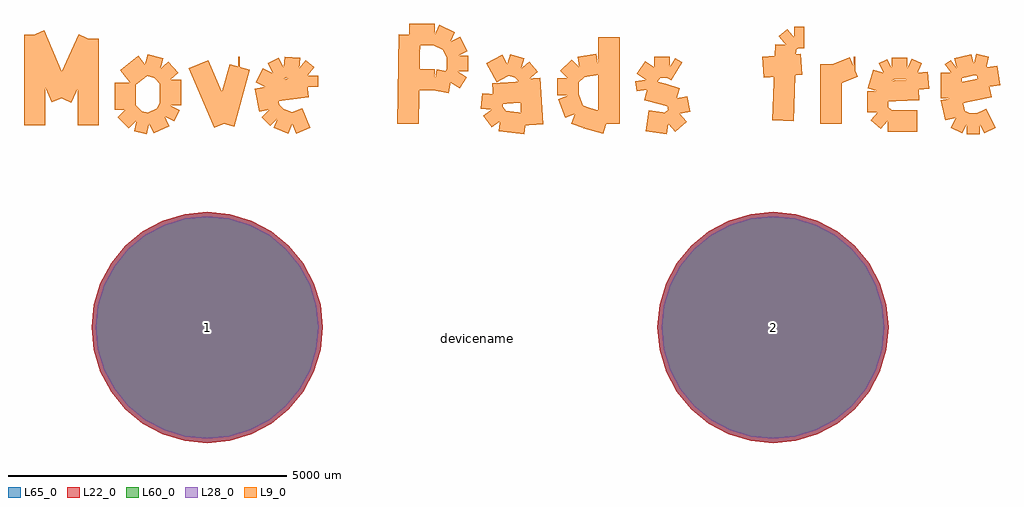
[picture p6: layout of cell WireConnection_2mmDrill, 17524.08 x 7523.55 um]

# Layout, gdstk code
import gdstk
lib = gdstk.Library(unit=1e-6, precision=1e-09)
def P(c, l, *ps):  # polygons
    for p in ps: c.add(gdstk.Polygon(p, *l))
L9_0 = (9, 0)
L22_0 = (22, 0)
L28_0 = (28, 0)
L60_0 = (60, 0)
L65_0 = (65, 0)

wireconnection_2mmdrill = lib.new_cell('WireConnection_2mmDrill')
P(wireconnection_2mmdrill, L22_0, [(12235.25,0),(12195.375,404.861),(12077.281,794.164),(11885.507,1152.947),(11627.423,1467.423),(11312.947,1725.507),(10954.164,1917.281),(10564.861,2035.375),(10160,2075.25),(9755.139,2035.375),(9365.836,1917.281),(9007.053,1725.507),(8692.577,1467.423),(8434.493,1152.947),(8242.719,794.164),(8124.625,404.861),(8084.75,0),(8124.625,-404.861),(8242.719,-794.164),(8434.493,-1152.947),(8692.577,-1467.423),(9007.053,-1725.507),(9365.836,-1917.281),(9755.139,-2035.375),(10160,-2075.25),(10564.861,-2035.375),(10954.164,-1917.281),(11312.947,-1725.507),(11627.423,-1467.423),(11885.507,-1152.947),(12077.281,-794.164),(12195.375,-404.861)],
  [(2075.25,0),(2035.375,404.861),(1917.281,794.164),(1725.507,1152.947),(1467.423,1467.423),(1152.947,1725.507),(794.164,1917.281),(404.861,2035.375),(0,2075.25),(-404.861,2035.375),(-794.164,1917.281),(-1152.947,1725.507),(-1467.423,1467.423),(-1725.507,1152.947),(-1917.281,794.164),(-2035.375,404.861),(-2075.25,0),(-2035.375,-404.861),(-1917.281,-794.164),(-1725.507,-1152.947),(-1467.423,-1467.423),(-1152.947,-1725.507),(-794.164,-1917.281),(-404.861,-2035.375),(0,-2075.25),(404.861,-2035.375),(794.164,-1917.281),(1152.947,-1725.507),(1467.423,-1467.423),(1725.507,-1152.947),(1917.281,-794.164),(2035.375,-404.861)])
P(wireconnection_2mmdrill, L28_0, [(12160.25,0),(12121.816,390.229),(12007.99,765.463),(11823.147,1111.279),(11574.39,1414.39),(11271.279,1663.147),(10925.463,1847.99),(10550.229,1961.816),(10160,2000.25),(9769.771,1961.816),(9394.537,1847.99),(9048.721,1663.147),(8745.61,1414.39),(8496.853,1111.279),(8312.01,765.463),(8198.184,390.229),(8159.75,0),(8198.184,-390.229),(8312.01,-765.463),(8496.853,-1111.279),(8745.61,-1414.39),(9048.721,-1663.147),(9394.537,-1847.99),(9769.771,-1961.816),(10160,-2000.25),(10550.229,-1961.816),(10925.463,-1847.99),(11271.279,-1663.147),(11574.39,-1414.39),(11823.147,-1111.279),(12007.99,-765.463),(12121.816,-390.229)],
  [(2000.25,0),(1961.816,390.229),(1847.99,765.463),(1663.147,1111.279),(1414.39,1414.39),(1111.279,1663.147),(765.463,1847.99),(390.229,1961.816),(0,2000.25),(-390.229,1961.816),(-765.463,1847.99),(-1111.279,1663.147),(-1414.39,1414.39),(-1663.147,1111.279),(-1847.99,765.463),(-1961.816,390.229),(-2000.25,0),(-1961.816,-390.229),(-1847.99,-765.463),(-1663.147,-1111.279),(-1414.39,-1414.39),(-1111.279,-1663.147),(-765.463,-1847.99),(-390.229,-1961.816),(0,-2000.25),(390.229,-1961.816),(765.463,-1847.99),(1111.279,-1663.147),(1414.39,-1414.39),(1663.147,-1111.279),(1847.99,-765.463),(1961.816,-390.229)])
P(wireconnection_2mmdrill, L60_0, [(12160.25,0),(12121.816,390.229),(12007.99,765.463),(11823.147,1111.279),(11574.39,1414.39),(11271.279,1663.147),(10925.463,1847.99),(10550.229,1961.816),(10160,2000.25),(9769.771,1961.816),(9394.537,1847.99),(9048.721,1663.147),(8745.61,1414.39),(8496.853,1111.279),(8312.01,765.463),(8198.184,390.229),(8159.75,0),(8198.184,-390.229),(8312.01,-765.463),(8496.853,-1111.279),(8745.61,-1414.39),(9048.721,-1663.147),(9394.537,-1847.99),(9769.771,-1961.816),(10160,-2000.25),(10550.229,-1961.816),(10925.463,-1847.99),(11271.279,-1663.147),(11574.39,-1414.39),(11823.147,-1111.279),(12007.99,-765.463),(12121.816,-390.229)],
  [(2000.25,0),(1961.816,390.229),(1847.99,765.463),(1663.147,1111.279),(1414.39,1414.39),(1111.279,1663.147),(765.463,1847.99),(390.229,1961.816),(0,2000.25),(-390.229,1961.816),(-765.463,1847.99),(-1111.279,1663.147),(-1414.39,1414.39),(-1663.147,1111.279),(-1847.99,765.463),(-1961.816,390.229),(-2000.25,0),(-1961.816,-390.229),(-1847.99,-765.463),(-1663.147,-1111.279),(-1414.39,-1414.39),(-1111.279,-1663.147),(-765.463,-1847.99),(-390.229,-1961.816),(0,-2000.25),(390.229,-1961.816),(765.463,-1847.99),(1111.279,-1663.147),(1414.39,-1414.39),(1663.147,-1111.279),(1847.99,-765.463),(1961.816,-390.229)])
P(wireconnection_2mmdrill, L65_0, [(12235.25,0),(12195.375,404.861),(12077.281,794.164),(11885.507,1152.947),(11627.423,1467.423),(11312.947,1725.507),(10954.164,1917.281),(10564.861,2035.375),(10160,2075.25),(9755.139,2035.375),(9365.836,1917.281),(9007.053,1725.507),(8692.577,1467.423),(8434.493,1152.947),(8242.719,794.164),(8124.625,404.861),(8084.75,0),(8124.625,-404.861),(8242.719,-794.164),(8434.493,-1152.947),(8692.577,-1467.423),(9007.053,-1725.507),(9365.836,-1917.281),(9755.139,-2035.375),(10160,-2075.25),(10564.861,-2035.375),(10954.164,-1917.281),(11312.947,-1725.507),(11627.423,-1467.423),(11885.507,-1152.947),(12077.281,-794.164),(12195.375,-404.861)],
  [(2075.25,0),(2035.375,404.861),(1917.281,794.164),(1725.507,1152.947),(1467.423,1467.423),(1152.947,1725.507),(794.164,1917.281),(404.861,2035.375),(0,2075.25),(-404.861,2035.375),(-794.164,1917.281),(-1152.947,1725.507),(-1467.423,1467.423),(-1725.507,1152.947),(-1917.281,794.164),(-2035.375,404.861),(-2075.25,0),(-2035.375,-404.861),(-1917.281,-794.164),(-1725.507,-1152.947),(-1467.423,-1467.423),(-1152.947,-1725.507),(-794.164,-1917.281),(-404.861,-2035.375),(0,-2075.25),(404.861,-2035.375),(794.164,-1917.281),(1152.947,-1725.507),(1467.423,-1467.423),(1725.507,-1152.947),(1917.281,-794.164),(2035.375,-404.861)])
wireconnection_2mmdrill.add(gdstk.FlexPath([(-2133.6,5181.6),(-2133.6,3632.2)], 380.998, ends="flush", simple_path=True, layer=9, datatype=0))  # L9_0
wireconnection_2mmdrill.add(gdstk.FlexPath([(-2616.2,4114.8),(-2133.6,5181.6)], 380.998, ends="flush", simple_path=True, layer=9, datatype=0))  # L9_0
wireconnection_2mmdrill.add(gdstk.FlexPath([(-3098.8,5257.8),(-2616.2,4114.8)], 380.998, ends="flush", simple_path=True, layer=9, datatype=0))  # L9_0
wireconnection_2mmdrill.add(gdstk.FlexPath([(-3098.8,3632.2),(-3098.8,5257.8)], 380.998, ends="flush", simple_path=True, layer=9, datatype=0))  # L9_0
wireconnection_2mmdrill.add(gdstk.FlexPath([(-1117.6,4724.4),(-1447.8,4470.4)], 380.998, ends="flush", simple_path=True, layer=9, datatype=0))  # L9_0
wireconnection_2mmdrill.add(gdstk.FlexPath([(-838.2,4648.2),(-1117.6,4724.4)], 380.998, ends="flush", simple_path=True, layer=9, datatype=0))  # L9_0
wireconnection_2mmdrill.add(gdstk.FlexPath([(-660.4,4445),(-838.2,4648.2)], 380.998, ends="flush", simple_path=True, layer=9, datatype=0))  # L9_0
wireconnection_2mmdrill.add(gdstk.FlexPath([(-660.4,3987.8),(-660.4,4445)], 380.998, ends="flush", simple_path=True, layer=9, datatype=0))  # L9_0
wireconnection_2mmdrill.add(gdstk.FlexPath([(-762,3784.6),(-660.4,3987.8)], 380.998, ends="flush", simple_path=True, layer=9, datatype=0))  # L9_0
wireconnection_2mmdrill.add(gdstk.FlexPath([(-1041.4,3657.6),(-762,3784.6)], 380.998, ends="flush", simple_path=True, layer=9, datatype=0))  # L9_0
wireconnection_2mmdrill.add(gdstk.FlexPath([(-1270,3708.4),(-1041.4,3657.6)], 380.998, ends="flush", simple_path=True, layer=9, datatype=0))  # L9_0
wireconnection_2mmdrill.add(gdstk.FlexPath([(-1473.2,3911.6),(-1270,3708.4)], 380.998, ends="flush", simple_path=True, layer=9, datatype=0))  # L9_0
wireconnection_2mmdrill.add(gdstk.FlexPath([(-1473.2,4394.2),(-1473.2,3911.6)], 380.998, ends="flush", simple_path=True, layer=9, datatype=0))  # L9_0
wireconnection_2mmdrill.add(gdstk.FlexPath([(584.2,4673.6),(558.8,4673.6)], 380.998, ends="flush", simple_path=True, layer=9, datatype=0))  # L9_0
wireconnection_2mmdrill.add(gdstk.FlexPath([(304.8,3657.6),(584.2,4673.6)], 380.998, ends="flush", simple_path=True, layer=9, datatype=0))  # L9_0
wireconnection_2mmdrill.add(gdstk.FlexPath([(-152.4,4724.4),(304.8,3657.6)], 380.998, ends="flush", simple_path=True, layer=9, datatype=0))  # L9_0
wireconnection_2mmdrill.add(gdstk.FlexPath([(1803.4,4318),(1168.4,4241.8)], 380.998, ends="flush", simple_path=True, layer=9, datatype=0))  # L9_0
wireconnection_2mmdrill.add(gdstk.FlexPath([(1803.4,4521.2),(1803.4,4318)], 380.998, ends="flush", simple_path=True, layer=9, datatype=0))  # L9_0
wireconnection_2mmdrill.add(gdstk.FlexPath([(1651,4648.2),(1803.4,4521.2)], 380.998, ends="flush", simple_path=True, layer=9, datatype=0))  # L9_0
wireconnection_2mmdrill.add(gdstk.FlexPath([(1371.6,4673.6),(1651,4648.2)], 380.998, ends="flush", simple_path=True, layer=9, datatype=0))  # L9_0
wireconnection_2mmdrill.add(gdstk.FlexPath([(1168.4,4572),(1371.6,4673.6)], 380.998, ends="flush", simple_path=True, layer=9, datatype=0))  # L9_0
wireconnection_2mmdrill.add(gdstk.FlexPath([(1041.4,4318),(1168.4,4572)], 380.998, ends="flush", simple_path=True, layer=9, datatype=0))  # L9_0
wireconnection_2mmdrill.add(gdstk.FlexPath([(1117.6,3911.6),(1041.4,4318)], 380.998, ends="flush", simple_path=True, layer=9, datatype=0))  # L9_0
wireconnection_2mmdrill.add(gdstk.FlexPath([(1270,3759.2),(1117.6,3911.6)], 380.998, ends="flush", simple_path=True, layer=9, datatype=0))  # L9_0
wireconnection_2mmdrill.add(gdstk.FlexPath([(1524,3657.6),(1270,3759.2)], 380.998, ends="flush", simple_path=True, layer=9, datatype=0))  # L9_0
wireconnection_2mmdrill.add(gdstk.FlexPath([(1778,3759.2),(1524,3657.6)], 380.998, ends="flush", simple_path=True, layer=9, datatype=0))  # L9_0
wireconnection_2mmdrill.add(gdstk.FlexPath([(4089.4,4445),(3632.2,4445)], 380.998, ends="flush", simple_path=True, layer=9, datatype=0))  # L9_0
wireconnection_2mmdrill.add(gdstk.FlexPath([(4368.8,4394.2),(4089.4,4445)], 380.998, ends="flush", simple_path=True, layer=9, datatype=0))  # L9_0
wireconnection_2mmdrill.add(gdstk.FlexPath([(4495.8,4597.4),(4368.8,4394.2)], 380.998, ends="flush", simple_path=True, layer=9, datatype=0))  # L9_0
wireconnection_2mmdrill.add(gdstk.FlexPath([(4495.8,4876.8),(4495.8,4597.4)], 380.998, ends="flush", simple_path=True, layer=9, datatype=0))  # L9_0
wireconnection_2mmdrill.add(gdstk.FlexPath([(4368.8,5130.8),(4495.8,4876.8)], 380.998, ends="flush", simple_path=True, layer=9, datatype=0))  # L9_0
wireconnection_2mmdrill.add(gdstk.FlexPath([(4089.4,5257.8),(4368.8,5130.8)], 380.998, ends="flush", simple_path=True, layer=9, datatype=0))  # L9_0
wireconnection_2mmdrill.add(gdstk.FlexPath([(3632.2,5257.8),(4089.4,5257.8)], 380.998, ends="flush", simple_path=True, layer=9, datatype=0))  # L9_0
wireconnection_2mmdrill.add(gdstk.FlexPath([(3606.8,3657.6),(3632.2,5257.8)], 380.998, ends="flush", simple_path=True, layer=9, datatype=0))  # L9_0
wireconnection_2mmdrill.add(gdstk.FlexPath([(5791.2,4470.4),(5842,3632.2)], 380.998, ends="flush", simple_path=True, layer=9, datatype=0))  # L9_0
wireconnection_2mmdrill.add(gdstk.FlexPath([(5638.8,4648.2),(5791.2,4470.4)], 380.998, ends="flush", simple_path=True, layer=9, datatype=0))  # L9_0
wireconnection_2mmdrill.add(gdstk.FlexPath([(5384.8,4724.4),(5638.8,4648.2)], 380.998, ends="flush", simple_path=True, layer=9, datatype=0))  # L9_0
wireconnection_2mmdrill.add(gdstk.FlexPath([(5105.4,4572),(5384.8,4724.4)], 380.998, ends="flush", simple_path=True, layer=9, datatype=0))  # L9_0
wireconnection_2mmdrill.add(gdstk.FlexPath([(5130.8,4191),(5842,4241.8)], 380.998, ends="flush", simple_path=True, layer=9, datatype=0))  # L9_0
wireconnection_2mmdrill.add(gdstk.FlexPath([(5105.4,3911.6),(5130.8,4191)], 380.998, ends="flush", simple_path=True, layer=9, datatype=0))  # L9_0
wireconnection_2mmdrill.add(gdstk.FlexPath([(5257.8,3708.4),(5105.4,3911.6)], 380.998, ends="flush", simple_path=True, layer=9, datatype=0))  # L9_0
wireconnection_2mmdrill.add(gdstk.FlexPath([(5715,3657.6),(5257.8,3708.4)], 380.998, ends="flush", simple_path=True, layer=9, datatype=0))  # L9_0
wireconnection_2mmdrill.add(gdstk.FlexPath([(7213.6,5207),(7213.6,3657.6)], 380.998, ends="flush", simple_path=True, layer=9, datatype=0))  # L9_0
wireconnection_2mmdrill.add(gdstk.FlexPath([(6680.2,4673.6),(7010.4,4724.4)], 380.998, ends="flush", simple_path=True, layer=9, datatype=0))  # L9_0
wireconnection_2mmdrill.add(gdstk.FlexPath([(6477,4470.4),(6680.2,4673.6)], 380.998, ends="flush", simple_path=True, layer=9, datatype=0))  # L9_0
wireconnection_2mmdrill.add(gdstk.FlexPath([(6477,4165.6),(6477,4470.4)], 380.998, ends="flush", simple_path=True, layer=9, datatype=0))  # L9_0
wireconnection_2mmdrill.add(gdstk.FlexPath([(6604,3835.4),(6477,4165.6)], 380.998, ends="flush", simple_path=True, layer=9, datatype=0))  # L9_0
wireconnection_2mmdrill.add(gdstk.FlexPath([(6807.2,3759.2),(6604,3835.4)], 380.998, ends="flush", simple_path=True, layer=9, datatype=0))  # L9_0
wireconnection_2mmdrill.add(gdstk.FlexPath([(7162.8,3657.6),(6807.2,3759.2)], 380.998, ends="flush", simple_path=True, layer=9, datatype=0))  # L9_0
wireconnection_2mmdrill.add(gdstk.FlexPath([(8280.4,3657.6),(7899.4,3708.4)], 380.998, ends="flush", simple_path=True, layer=9, datatype=0))  # L9_0
wireconnection_2mmdrill.add(gdstk.FlexPath([(8483.6,3835.4),(8280.4,3657.6)], 380.998, ends="flush", simple_path=True, layer=9, datatype=0))  # L9_0
wireconnection_2mmdrill.add(gdstk.FlexPath([(8432.8,4114.8),(8483.6,3835.4)], 380.998, ends="flush", simple_path=True, layer=9, datatype=0))  # L9_0
wireconnection_2mmdrill.add(gdstk.FlexPath([(8178.8,4191),(8432.8,4114.8)], 380.998, ends="flush", simple_path=True, layer=9, datatype=0))  # L9_0
wireconnection_2mmdrill.add(gdstk.FlexPath([(7899.4,4267.2),(8178.8,4191)], 380.998, ends="flush", simple_path=True, layer=9, datatype=0))  # L9_0
wireconnection_2mmdrill.add(gdstk.FlexPath([(7874,4445),(7899.4,4267.2)], 380.998, ends="flush", simple_path=True, layer=9, datatype=0))  # L9_0
wireconnection_2mmdrill.add(gdstk.FlexPath([(8026.4,4673.6),(7874,4445)], 380.998, ends="flush", simple_path=True, layer=9, datatype=0))  # L9_0
wireconnection_2mmdrill.add(gdstk.FlexPath([(8305.8,4673.6),(8026.4,4673.6)], 380.998, ends="flush", simple_path=True, layer=9, datatype=0))  # L9_0
wireconnection_2mmdrill.add(gdstk.FlexPath([(8432.8,4597.4),(8305.8,4673.6)], 380.998, ends="flush", simple_path=True, layer=9, datatype=0))  # L9_0
wireconnection_2mmdrill.add(gdstk.FlexPath([(10388.6,5080),(10337.8,3708.4)], 380.998, ends="flush", simple_path=True, layer=9, datatype=0))  # L9_0
wireconnection_2mmdrill.add(gdstk.FlexPath([(10541,5207),(10388.6,5080)], 380.998, ends="flush", simple_path=True, layer=9, datatype=0))  # L9_0
wireconnection_2mmdrill.add(gdstk.FlexPath([(10718.8,5207),(10541,5207)], 380.998, ends="flush", simple_path=True, layer=9, datatype=0))  # L9_0
wireconnection_2mmdrill.add(gdstk.FlexPath([(9982.2,4673.6),(10668,4724.4)], 380.998, ends="flush", simple_path=True, layer=9, datatype=0))  # L9_0
wireconnection_2mmdrill.add(gdstk.FlexPath([(11201.4,4724.4),(11201.4,3657.6)], 380.998, ends="flush", simple_path=True, layer=9, datatype=0))  # L9_0
wireconnection_2mmdrill.add(gdstk.FlexPath([(11607.8,4673.6),(11633.2,4673.6)], 380.998, ends="flush", simple_path=True, layer=9, datatype=0))  # L9_0
wireconnection_2mmdrill.add(gdstk.FlexPath([(11226.8,4521.2),(11607.8,4673.6)], 380.998, ends="flush", simple_path=True, layer=9, datatype=0))  # L9_0
wireconnection_2mmdrill.add(gdstk.FlexPath([(12776.2,4267.2),(12141.2,4241.8)], 380.998, ends="flush", simple_path=True, layer=9, datatype=0))  # L9_0
wireconnection_2mmdrill.add(gdstk.FlexPath([(12750.8,4572),(12776.2,4267.2)], 380.998, ends="flush", simple_path=True, layer=9, datatype=0))  # L9_0
wireconnection_2mmdrill.add(gdstk.FlexPath([(12573,4648.2),(12750.8,4572)], 380.998, ends="flush", simple_path=True, layer=9, datatype=0))  # L9_0
wireconnection_2mmdrill.add(gdstk.FlexPath([(12293.6,4648.2),(12573,4648.2)], 380.998, ends="flush", simple_path=True, layer=9, datatype=0))  # L9_0
wireconnection_2mmdrill.add(gdstk.FlexPath([(12141.2,4572),(12293.6,4648.2)], 380.998, ends="flush", simple_path=True, layer=9, datatype=0))  # L9_0
wireconnection_2mmdrill.add(gdstk.FlexPath([(12039.6,4241.8),(12141.2,4572)], 380.998, ends="flush", simple_path=True, layer=9, datatype=0))  # L9_0
wireconnection_2mmdrill.add(gdstk.FlexPath([(12039.6,3860.8),(12039.6,4241.8)], 380.998, ends="flush", simple_path=True, layer=9, datatype=0))  # L9_0
wireconnection_2mmdrill.add(gdstk.FlexPath([(12217.4,3708.4),(12039.6,3860.8)], 380.998, ends="flush", simple_path=True, layer=9, datatype=0))  # L9_0
wireconnection_2mmdrill.add(gdstk.FlexPath([(12420.6,3708.4),(12217.4,3708.4)], 380.998, ends="flush", simple_path=True, layer=9, datatype=0))  # L9_0
wireconnection_2mmdrill.add(gdstk.FlexPath([(12750.8,3708.4),(12420.6,3708.4)], 380.998, ends="flush", simple_path=True, layer=9, datatype=0))  # L9_0
wireconnection_2mmdrill.add(gdstk.FlexPath([(13436.6,4191),(13436.6,4241.8)], 380.998, ends="flush", simple_path=True, layer=9, datatype=0))  # L9_0
wireconnection_2mmdrill.add(gdstk.FlexPath([(14046.2,4318),(13436.6,4191)], 380.998, ends="flush", simple_path=True, layer=9, datatype=0))  # L9_0
wireconnection_2mmdrill.add(gdstk.FlexPath([(13995.4,4673.6),(14046.2,4318)], 380.998, ends="flush", simple_path=True, layer=9, datatype=0))  # L9_0
wireconnection_2mmdrill.add(gdstk.FlexPath([(13766.8,4724.4),(13995.4,4673.6)], 380.998, ends="flush", simple_path=True, layer=9, datatype=0))  # L9_0
wireconnection_2mmdrill.add(gdstk.FlexPath([(13462,4648.2),(13766.8,4724.4)], 380.998, ends="flush", simple_path=True, layer=9, datatype=0))  # L9_0
wireconnection_2mmdrill.add(gdstk.FlexPath([(13360.4,4572),(13462,4648.2)], 380.998, ends="flush", simple_path=True, layer=9, datatype=0))  # L9_0
wireconnection_2mmdrill.add(gdstk.FlexPath([(13360.4,4114.8),(13360.4,4572)], 380.998, ends="flush", simple_path=True, layer=9, datatype=0))  # L9_0
wireconnection_2mmdrill.add(gdstk.FlexPath([(13436.6,3759.2),(13360.4,4114.8)], 380.998, ends="flush", simple_path=True, layer=9, datatype=0))  # L9_0
wireconnection_2mmdrill.add(gdstk.FlexPath([(13639.8,3657.6),(13436.6,3759.2)], 380.998, ends="flush", simple_path=True, layer=9, datatype=0))  # L9_0
wireconnection_2mmdrill.add(gdstk.FlexPath([(13868.4,3657.6),(13639.8,3657.6)], 380.998, ends="flush", simple_path=True, layer=9, datatype=0))  # L9_0
wireconnection_2mmdrill.add(gdstk.FlexPath([(14071.6,3759.2),(13868.4,3657.6)], 380.998, ends="flush", simple_path=True, layer=9, datatype=0))  # L9_0
wireconnection_2mmdrill.add(gdstk.Label('2', (10160,0), layer=28, texttype=0))
wireconnection_2mmdrill.add(gdstk.Label('1', (0,0), layer=28, texttype=0))
wireconnection_2mmdrill.add(gdstk.Label('type', (5080,-3810), layer=9, texttype=0))
wireconnection_2mmdrill.add(gdstk.Label('devicename', (4851.4,-203.2), layer=9, texttype=0))

lib.write_gds('WireConnection_2mmDrill.gds')
